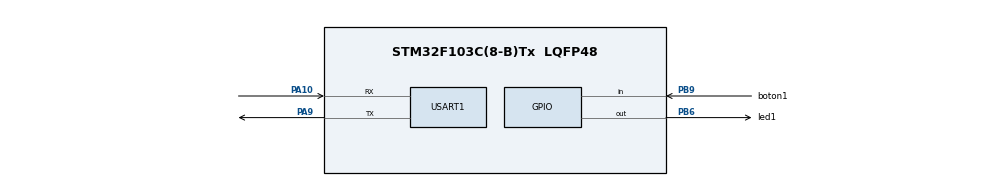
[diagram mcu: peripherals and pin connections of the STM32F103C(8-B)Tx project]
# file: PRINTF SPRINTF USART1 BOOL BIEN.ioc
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Mcu.Family=STM32F1
Mcu.Name=STM32F103C(8-B)Tx
Mcu.Package=LQFP48
NVIC.PriorityGroup=NVIC_PRIORITYGROUP_4
PA10.Mode=Asynchronous
PA10.Signal=USART1_RX
PA13.Mode=Serial_Wire
PA13.Signal=SYS_JTMS-SWDIO
PA14.Mode=Serial_Wire
PA14.Signal=SYS_JTCK-SWCLK
PA9.Mode=Asynchronous
PA9.Signal=USART1_TX
PB6.GPIO_Label=led1
PB6.GPIO_ModeDefaultOutputPP=GPIO_MODE_OUTPUT_PP
PB6.GPIO_PuPd=GPIO_NOPULL
PB6.Signal=GPIO_Output
PB9.GPIO_Label=boton1
PB9.GPIO_Mode=GPIO_MODE_INPUT
PB9.GPIO_PuPd=GPIO_PULLUP
PB9.Signal=GPIO_Input
ProjectManager.HeapSize=0x200
ProjectManager.StackSize=0x400
ProjectManager.TargetToolchain=STM32CubeIDE
RCC.APB1Freq_Value=8000000
RCC.APB2Freq_Value=8000000
USART1.VirtualMode=VM_ASYNC
board=custom

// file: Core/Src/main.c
/* USER CODE BEGIN Header */
/**
  ******************************************************************************
  * @file           : main.c
  * @brief          : Main program body
  ******************************************************************************
  * @attention
  *
  * <h2><center>&copy; Copyright (c) 2020 STMicroelectronics.
  * All rights reserved.</center></h2>
  *
  * This software component is licensed by ST under BSD 3-Clause license,
  * the "License"; You may not use this file except in compliance with the
  * License. You may obtain a copy of the License at:
  *                        opensource.org/licenses/BSD-3-Clause
  *
  ******************************************************************************
  */
/* USER CODE END Header */

#include "main.h"

/* USER CODE BEGIN Includes */
#include "stdbool.h" //libreria para usar variables booleanas

#include <stdio.h> //libreria para sprintf sin warnings
#include <errno.h>
#include <sys/unistd.h>

/* USER CODE END Includes */

/* USER CODE BEGIN PTD */
 bool estado=0;
 uint8_t cont=0;
char buffer[40];    //sprintf necesita char
uint8_t stringSize; //tamaño

/* USER CODE END PTD */

UART_HandleTypeDef huart1;

void SystemClock_Config(void);
static void MX_GPIO_Init(void);
static void MX_USART1_UART_Init(void);
/* USER CODE BEGIN PFP */
//FUNCION PARA QUE EL PRINTF IMPRIMA VIA USART
int _write(int file, char *data, int len){

	if ((file != STDOUT_FILENO) && (file != STDERR_FILENO)) {
		errno = EBADF; return -1; }

	// arbitrary timeout 1000
	HAL_StatusTypeDef status = HAL_UART_Transmit(&huart1, (uint8_t*)data, len, 1000);
	// return # of bytes written - as best we can tell
	return (status == HAL_OK ? len : 0);
}

/* USER CODE END PFP */

int main(void)
{

  /* MCU Configuration--------------------------------------------------------*/

  /* Reset of all peripherals, Initializes the Flash interface and the Systick. */
  HAL_Init();

  /* Configure the system clock */
  SystemClock_Config();

  /* Initialize all configured peripherals */
  MX_GPIO_Init();
  MX_USART1_UART_Init();

  /* Infinite loop */
  /* USER CODE BEGIN WHILE */
  printf("Hola Mundo");

  while (1)
  {

	  estado = HAL_GPIO_ReadPin(boton1_GPIO_Port, boton1_Pin);
	  if(estado == 0){
          cont++;
		  HAL_Delay(150);
		  HAL_GPIO_TogglePin(led1_GPIO_Port, led1_Pin);}

	  stringSize=sprintf(buffer,"ESTADO: %u CONTADOR: %u\r\n",estado,cont); //forma correcta sin warnings
	  HAL_UART_Transmit(&huart1,(uint8_t *)buffer, stringSize, 100);//forma correcta sin warning

    /* USER CODE END WHILE */

  }
}

void SystemClock_Config(void)
{
  RCC_OscInitTypeDef RCC_OscInitStruct = {0};
  RCC_ClkInitTypeDef RCC_ClkInitStruct = {0};

  /** Initializes the CPU, AHB and APB busses clocks
  */
  RCC_OscInitStruct.OscillatorType = RCC_OSCILLATORTYPE_HSI;
  RCC_OscInitStruct.HSIState = RCC_HSI_ON;
  RCC_OscInitStruct.HSICalibrationValue = RCC_HSICALIBRATION_DEFAULT;
  RCC_OscInitStruct.PLL.PLLState = RCC_PLL_NONE;
  if (HAL_RCC_OscConfig(&RCC_OscInitStruct) != HAL_OK)
  {
    Error_Handler();
  }
  /** Initializes the CPU, AHB and APB busses clocks
  */
  RCC_ClkInitStruct.ClockType = RCC_CLOCKTYPE_HCLK|RCC_CLOCKTYPE_SYSCLK
                              |RCC_CLOCKTYPE_PCLK1|RCC_CLOCKTYPE_PCLK2;
  RCC_ClkInitStruct.SYSCLKSource = RCC_SYSCLKSOURCE_HSI;
  RCC_ClkInitStruct.AHBCLKDivider = RCC_SYSCLK_DIV1;
  RCC_ClkInitStruct.APB1CLKDivider = RCC_HCLK_DIV1;
  RCC_ClkInitStruct.APB2CLKDivider = RCC_HCLK_DIV1;

  if (HAL_RCC_ClockConfig(&RCC_ClkInitStruct, FLASH_LATENCY_0) != HAL_OK)
  {
    Error_Handler();
  }
}

static void MX_USART1_UART_Init(void)
{

  huart1.Instance = USART1;
  huart1.Init.BaudRate = 115200;
  huart1.Init.WordLength = UART_WORDLENGTH_8B;
  huart1.Init.StopBits = UART_STOPBITS_1;
  huart1.Init.Parity = UART_PARITY_NONE;
  huart1.Init.Mode = UART_MODE_TX_RX;
  huart1.Init.HwFlowCtl = UART_HWCONTROL_NONE;
  huart1.Init.OverSampling = UART_OVERSAMPLING_16;
  if (HAL_UART_Init(&huart1) != HAL_OK)
  {
    Error_Handler();
  }

}

static void MX_GPIO_Init(void)
{
  GPIO_InitTypeDef GPIO_InitStruct = {0};

  /* GPIO Ports Clock Enable */
  __HAL_RCC_GPIOA_CLK_ENABLE();
  __HAL_RCC_GPIOB_CLK_ENABLE();

  /*Configure GPIO pin Output Level */
  HAL_GPIO_WritePin(led1_GPIO_Port, led1_Pin, GPIO_PIN_RESET);

  /*Configure GPIO pin : led1_Pin */
  GPIO_InitStruct.Pin = led1_Pin;
  GPIO_InitStruct.Mode = GPIO_MODE_OUTPUT_PP;
  GPIO_InitStruct.Pull = GPIO_NOPULL;
  GPIO_InitStruct.Speed = GPIO_SPEED_FREQ_LOW;
  HAL_GPIO_Init(led1_GPIO_Port, &GPIO_InitStruct);

  /*Configure GPIO pin : boton1_Pin */
  GPIO_InitStruct.Pin = boton1_Pin;
  GPIO_InitStruct.Mode = GPIO_MODE_INPUT;
  GPIO_InitStruct.Pull = GPIO_PULLUP;
  HAL_GPIO_Init(boton1_GPIO_Port, &GPIO_InitStruct);

}

void Error_Handler(void)
{
}

/************************ (C) COPYRIGHT STMicroelectronics *****END OF FILE****/
